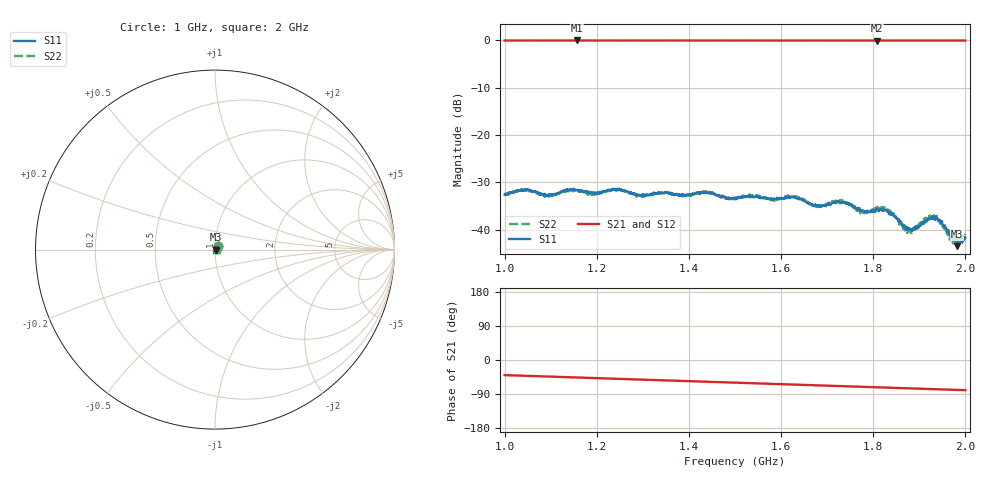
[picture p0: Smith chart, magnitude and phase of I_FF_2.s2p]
#  HZ  S  DB  R  50.00
! Rohde & Schwarz Vector Network Analyzer
! Rohde-Schwarz,ZNB8-4Port,1311601044102961,2.82
! Created: UTC 3/4/2022, 3:56:49 PM
! freq[Hz]  db:S11  ang:S11  db:S21  ang:S21  db:S12  ang:S12  db:S22  ang:S22
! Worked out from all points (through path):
!   1001 points, 1 GHz to 2 GHz, reference 50 ohm
!   highest |S21| = -0.05 dB at 1.157 GHz (marker M1); lowest = -0.1 dB at 1.808 GHz (marker M2)
!   group delay of S21, straight-line fit = 110 ps
!   lowest |S11| = -43.4 dB at 1.982 GHz (marker M3), VSWR 1.01, Z = 50.7 + j0.00526 ohm
!   |S11| at or under -10 dB: start of sweep to end of sweep
!   |S22| runs from -43.1 to -31.4 dB; largest |S21 - S12| = 0.0026
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1e9  -32.56 47.5  -0.06 -39.9  -0.05 -39.9  -32.52 48.1
1.049e9  -31.43 47.2  -0.06 -41.9  -0.05 -41.8  -31.57 45.2
1.094e9  -32.54 45.5  -0.06 -43.6  -0.05 -43.6  -32.81 44.7
1.157e9  -31.63 39.8  -0.05 -46.2  -0.05 -46.1  -31.87 45.2
1.167e9  -31.89 37.2  -0.06 -46.5  -0.05 -46.6  -31.77 46.3
1.241e9  -31.69 39.6  -0.06 -49.5  -0.06 -49.5  -31.41 39.9
1.299e9  -32.53 34.7  -0.06 -51.8  -0.05 -51.8  -32.96 36.6
1.334e9  -32.27 35.5  -0.06 -53.2  -0.06 -53.2  -32.24 39.8
1.437e9  -32.21 30.0  -0.06 -57.3  -0.06 -57.3  -31.85 34.8
1.5e9  -33.27 26.6  -0.06 -59.8  -0.05 -59.8  -33.58 29.9
1.62e9  -33.20 22.6  -0.07 -64.6  -0.06 -64.6  -32.87 26.1
1.667e9  -34.56 15.5  -0.06 -66.4  -0.06 -66.4  -34.49 28.0
1.73e9  -34.24 10.3  -0.07 -68.9  -0.06 -68.9  -33.69 27.7
1.776e9  -35.86 9.7  -0.07 -70.8  -0.06 -70.8  -36.19 23.6
1.808e9  -35.87 13.6  -0.08 -72.0  -0.06 -72.0  -35.66 16.5
1.834e9  -36.30 7.7  -0.06 -73.1  -0.06 -73.1  -35.96 26.0
1.878e9  -39.67 1.4  -0.07 -74.8  -0.06 -74.8  -40.09 23.6
1.915e9  -38.05 1.2  -0.06 -76.3  -0.06 -76.3  -37.45 22.6
1.933e9  -37.22 -5.6  -0.07 -77.0  -0.06 -77.0  -37.18 29.4
1.971e9  -41.59 -4.4  -0.07 -78.5  -0.07 -78.5  -41.94 19.1
1.982e9  -43.44 0.4  -0.07 -79.0  -0.07 -78.9  -42.58 4.7
2e9  -41.69 3.1  -0.07 -79.6  -0.07 -79.7  -40.84 1.0
